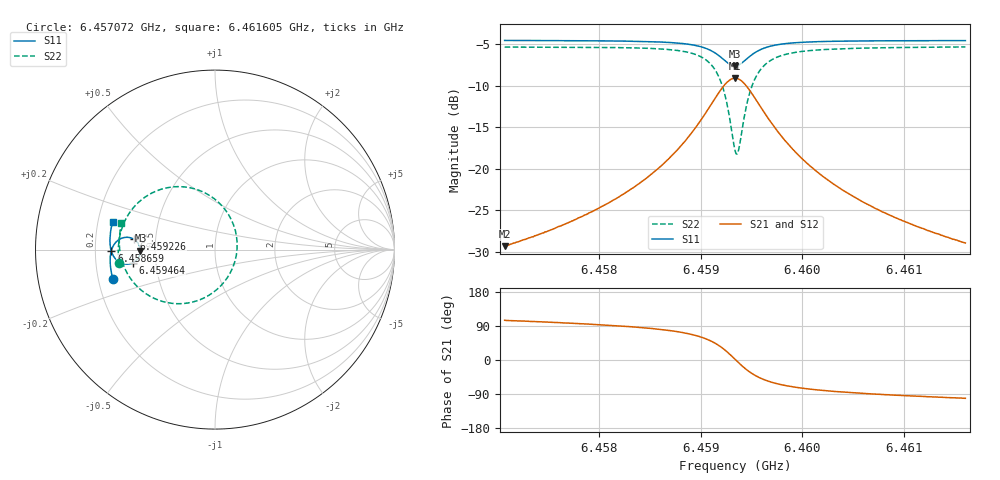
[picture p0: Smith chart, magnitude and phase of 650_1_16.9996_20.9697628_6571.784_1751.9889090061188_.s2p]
#  HZ  S  RI  R  50.00
! Rohde & Schwarz Vector Network Analyzer
! Rohde-Schwarz,ZNB20-2Port,1311601062101988,3.16
! Created: UTC 3/20/2024, 11:21:12 PM
! freq[Hz]  re:S11  im:S11  re:S21  im:S21  re:S12  im:S12  re:S22  im:S22
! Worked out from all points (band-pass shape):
!   401 points, 6.457072 GHz to 6.461605 GHz, reference 50 ohm
!   highest |S21| = -9.10 dB at 6.459339 GHz (marker M1); lowest = -29.3 dB at 6.457072 GHz (marker M2)
!   |S21| within 3 dB of the highest: 6.459113 GHz to 6.459567 GHz (453.8 kHz wide, 0.00702 % of centre)
!   lowest |S11| = -7.6 dB at 6.459339 GHz (marker M3), VSWR 2.42, Z = 20.6 - j0.313 ohm
!   |S11| at or under -10 dB: nowhere
!   |S22| runs from -18.2 to -5.3 dB; largest |S21 - S12| = 0.014
!   S11 on the Smith chart (normalised r, x): 6.457072 GHz: 0.26, -0.13; 6.458659 GHz: 0.27, -0.00; 6.459226 GHz: 0.38, +0.05; 6.459464 GHz: 0.37, -0.07; 6.461605 GHz: 0.26, +0.12
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6.4570725e9  -0.5688 -0.1649  -0.00872 0.033  -0.00682 0.0331  -0.5345 -0.0762
6.4578317e9  -0.5817 -0.098  -0.00511 0.0512  -0.00249 0.0507  -0.5386 0.014
6.4582624e9  -0.5841 -0.0544  0.00139 0.0717  0.0047 0.0702  -0.5287 0.0836
6.458591e9  -0.5798 -0.0148  0.0154 0.1001  0.0196 0.0971  -0.5026 0.1594
6.458659e9  -0.5775 -0.00523  0.021 0.1085  0.0251 0.1052  -0.4922 0.1795
6.4588516e9  -0.5644 0.0252  0.0481 0.1395  0.0523 0.1346  -0.441 0.2488
6.458999e9  -0.5413 0.0513  0.0942 0.1701  0.0975 0.1632  -0.3557 0.313
6.4591349e9  -0.4969 0.0685  0.1826 0.1861  0.1834 0.1787  -0.1941 0.3507
6.4592256e9  -0.4518 0.0577  0.2735 0.1541  0.2736 0.1482  -0.0255 0.2985
6.4592936e9  -0.4225 0.0251  0.3345 0.081  0.3367 0.0758  0.0912 0.1665
6.4593389e9  -0.4156 -0.00627  0.3507 0.012  0.3546 0.0052  0.1234 0.0372
6.4593729e9  -0.4196 -0.0304  0.3448 -0.0413  0.3488 -0.0503  0.1115 -0.0641
6.4594182e9  -0.4355 -0.0569  0.3156 -0.1018  0.3179 -0.1141  0.0521 -0.1792
6.4594636e9  -0.4579 -0.0735  0.2725 -0.1435  0.2718 -0.1572  -0.0352 -0.2553
6.4595542e9  -0.5019 -0.0806  0.186 -0.1748  0.1798 -0.1866  -0.2078 -0.3016
6.4596222e9  -0.5266 -0.0731  0.1367 -0.1726  0.1287 -0.1817  -0.303 -0.2855
6.4597016e9  -0.5464 -0.0598  0.0967 -0.1601  0.0879 -0.1664  -0.3784 -0.25
6.4598602e9  -0.5681 -0.032  0.0513 -0.1313  0.0433 -0.134  -0.4598 -0.176
6.4600982e9  -0.5809 0.00367  0.0218 -0.0991  0.0158 -0.0996  -0.5078 -0.092
6.4604495e9  -0.5851 0.0458  0.00562 -0.0709  0.00136 -0.0704  -0.5294 -0.00979
6.4608574e9  -0.5833 0.0869  -0.00188 -0.0526  -0.00468 -0.0517  -0.5328 0.0563
6.4616054e9  -0.5709 0.1533  -0.00688 -0.0351  -0.00854 -0.0341  -0.5211 0.1459
